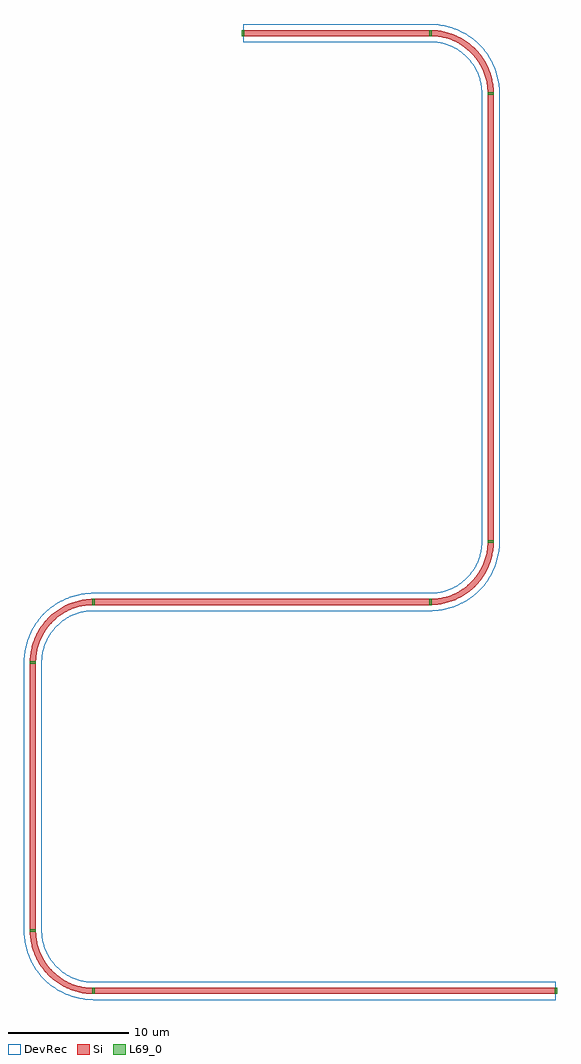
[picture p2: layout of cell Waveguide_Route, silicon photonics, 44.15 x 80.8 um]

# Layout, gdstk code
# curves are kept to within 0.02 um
from math import pi, radians
import gdstk
lib = gdstk.Library(unit=1e-6, precision=1e-09)
def R(c, l, rs):  # rectangles x0, y0, x1, y1
    for r in rs: c.add(gdstk.rectangle(r[:2], r[2:], *l))
def P(c, l, *ps):  # polygons
    for p in ps: c.add(gdstk.Polygon(p, *l))
Si = (1, 0)
DevRec = (68, 0)
L69_0 = (69, 0)

waveguide_bend_2 = lib.new_cell('Waveguide_Bend$2')
P(waveguide_bend_2, Si, [(-5,-0.25),(-5,0.25),(-4.594,0.267),(-4.057,0.345),(-3.532,0.482),(-3.151,0.625),(-2.432,1.004),(-2.099,1.238),(-1.69,1.594),(-1.41,1.889),(-1.079,2.319),(-0.799,2.783),(-0.625,3.151),(-0.482,3.532),(-0.345,4.057),(-0.267,4.594),(-0.25,5),(0.25,5),(0.231,4.551),(0.145,3.957),(-0.007,3.378),(-0.164,2.956),(-0.583,2.162),(-0.843,1.794),(-1.235,1.341),(-1.562,1.032),(-2.037,0.666),(-2.418,0.429),(-2.956,0.164),(-3.378,0.007),(-3.957,-0.145),(-4.402,-0.216)])
P(waveguide_bend_2, DevRec, [(-5,-0.75),(-5,0.75),(-4.516,0.778),(-4.156,0.835),(-3.803,0.922),(-3.346,1.085),(-2.702,1.425),(-2.405,1.634),(-2.038,1.952),(-1.788,2.217),(-1.492,2.601),(-1.299,2.91),(-1.085,3.346),(-0.922,3.803),(-0.835,4.156),(-0.778,4.516),(-0.75,5),(0.75,5),(0.729,4.508),(0.666,4.019),(0.517,3.38),(0.358,2.914),(0.16,2.463),(-0.163,1.891),(-0.549,1.36),(-0.876,0.993),(-1.235,0.654),(-1.754,0.254),(-2.173,-0.007),(-2.762,-0.296),(-3.223,-0.469),(-3.858,-0.635),(-4.345,-0.713)])
waveguide_bend_2.add(gdstk.FlexPath([(0,5.1),(0,4.9)], 0.5, ends="flush", simple_path=True, layer=69, datatype=0))  # L69_0
waveguide_bend_2.add(gdstk.FlexPath([(-4.9,0),(-5.1,0)], 0.5, ends="flush", simple_path=True, layer=69, datatype=0))  # L69_0
waveguide_bend_2.add(gdstk.Label('Lumerical_INTERCONNECT_library=Design kits/ebeam_v1.1', (-4.5,0), layer=68, texttype=0))
waveguide_bend_2.add(gdstk.Label('Lumerical_INTERCONNECT_component=ebeam_bend_1550', (-4.5,1.25), layer=68, texttype=0))
waveguide_bend_2.add(gdstk.Label('Spice_param:radius=5.000u wg_width=0.500u', (-4.5,2.5), layer=68, texttype=0))
waveguide_bend_2.add(gdstk.Label('pin2', (0,5), layer=69, texttype=0))
waveguide_bend_2.add(gdstk.Label('pin1', (-5,0), layer=69, texttype=0))

waveguide_straight_44 = lib.new_cell('Waveguide_Straight$44')
R(waveguide_straight_44, Si, [(-18.55,-0.25,18.55,0.25)])
R(waveguide_straight_44, DevRec, [(-18.55,-0.75,18.55,0.75)])
waveguide_straight_44.add(gdstk.FlexPath([(-18.65,0),(-18.45,0)], 0.5, ends="flush", simple_path=True, layer=69, datatype=0))  # L69_0
waveguide_straight_44.add(gdstk.FlexPath([(18.45,0),(18.65,0)], 0.5, ends="flush", simple_path=True, layer=69, datatype=0))  # L69_0
waveguide_straight_44.add(gdstk.Label('Lumerical_INTERCONNECT_library=Design kits/ebeam_v1.0', (0,0), layer=68, texttype=0))
waveguide_straight_44.add(gdstk.Label('Lumerical_INTERCONNECT_component=ebeam_wg_strip_1550', (3.71,0), layer=68, texttype=0))
waveguide_straight_44.add(gdstk.Label('Spice_param:wg_width=0.500u wg_length=37.100u', (4.122,0), layer=68, texttype=0))
waveguide_straight_44.add(gdstk.Label('pin1', (-18.55,0), layer=69, texttype=0))
waveguide_straight_44.add(gdstk.Label('pin2', (18.55,0), layer=69, texttype=0))

waveguide_straight_45 = lib.new_cell('Waveguide_Straight$45')
R(waveguide_straight_45, Si, [(-13.95,-0.25,13.95,0.25)])
R(waveguide_straight_45, DevRec, [(-13.95,-0.75,13.95,0.75)])
waveguide_straight_45.add(gdstk.FlexPath([(-14.05,0),(-13.85,0)], 0.5, ends="flush", simple_path=True, layer=69, datatype=0))  # L69_0
waveguide_straight_45.add(gdstk.FlexPath([(13.85,0),(14.05,0)], 0.5, ends="flush", simple_path=True, layer=69, datatype=0))  # L69_0
waveguide_straight_45.add(gdstk.Label('Lumerical_INTERCONNECT_library=Design kits/ebeam_v1.0', (0,0), layer=68, texttype=0))
waveguide_straight_45.add(gdstk.Label('Lumerical_INTERCONNECT_component=ebeam_wg_strip_1550', (2.79,0), layer=68, texttype=0))
waveguide_straight_45.add(gdstk.Label('Spice_param:wg_width=0.500u wg_length=27.900u', (3.1,0), layer=68, texttype=0))
waveguide_straight_45.add(gdstk.Label('pin1', (-13.95,0), layer=69, texttype=0))
waveguide_straight_45.add(gdstk.Label('pin2', (13.95,0), layer=69, texttype=0))

waveguide_straight_46 = lib.new_cell('Waveguide_Straight$46')
R(waveguide_straight_46, Si, [(-11.1,-0.25,11.1,0.25)])
R(waveguide_straight_46, DevRec, [(-11.1,-0.75,11.1,0.75)])
waveguide_straight_46.add(gdstk.FlexPath([(-11.2,0),(-11,0)], 0.5, ends="flush", simple_path=True, layer=69, datatype=0))  # L69_0
waveguide_straight_46.add(gdstk.FlexPath([(11,0),(11.2,0)], 0.5, ends="flush", simple_path=True, layer=69, datatype=0))  # L69_0
waveguide_straight_46.add(gdstk.Label('Lumerical_INTERCONNECT_library=Design kits/ebeam_v1.0', (0,0), layer=68, texttype=0))
waveguide_straight_46.add(gdstk.Label('Lumerical_INTERCONNECT_component=ebeam_wg_strip_1550', (2.22,0), layer=68, texttype=0))
waveguide_straight_46.add(gdstk.Label('Spice_param:wg_width=0.500u wg_length=22.200u', (2.466,0), layer=68, texttype=0))
waveguide_straight_46.add(gdstk.Label('pin1', (-11.1,0), layer=69, texttype=0))
waveguide_straight_46.add(gdstk.Label('pin2', (11.1,0), layer=69, texttype=0))

waveguide_straight_47 = lib.new_cell('Waveguide_Straight$47')
R(waveguide_straight_47, Si, [(-7.75,-0.25,7.75,0.25)])
R(waveguide_straight_47, DevRec, [(-7.75,-0.75,7.75,0.75)])
waveguide_straight_47.add(gdstk.FlexPath([(-7.85,0),(-7.65,0)], 0.5, ends="flush", simple_path=True, layer=69, datatype=0))  # L69_0
waveguide_straight_47.add(gdstk.FlexPath([(7.65,0),(7.85,0)], 0.5, ends="flush", simple_path=True, layer=69, datatype=0))  # L69_0
waveguide_straight_47.add(gdstk.Label('Lumerical_INTERCONNECT_library=Design kits/ebeam_v1.0', (0,0), layer=68, texttype=0))
waveguide_straight_47.add(gdstk.Label('Lumerical_INTERCONNECT_component=ebeam_wg_strip_1550', (1.55,0), layer=68, texttype=0))
waveguide_straight_47.add(gdstk.Label('Spice_param:wg_width=0.500u wg_length=15.500u', (1.722,0), layer=68, texttype=0))
waveguide_straight_47.add(gdstk.Label('pin1', (-7.75,0), layer=69, texttype=0))
waveguide_straight_47.add(gdstk.Label('pin2', (7.75,0), layer=69, texttype=0))

waveguide_straight_48 = lib.new_cell('Waveguide_Straight$48')
R(waveguide_straight_48, Si, [(-19.15,-0.25,19.15,0.25)])
R(waveguide_straight_48, DevRec, [(-19.15,-0.75,19.15,0.75)])
waveguide_straight_48.add(gdstk.FlexPath([(-19.25,0),(-19.05,0)], 0.5, ends="flush", simple_path=True, layer=69, datatype=0))  # L69_0
waveguide_straight_48.add(gdstk.FlexPath([(19.05,0),(19.25,0)], 0.5, ends="flush", simple_path=True, layer=69, datatype=0))  # L69_0
waveguide_straight_48.add(gdstk.Label('Lumerical_INTERCONNECT_library=Design kits/ebeam_v1.0', (0,0), layer=68, texttype=0))
waveguide_straight_48.add(gdstk.Label('Lumerical_INTERCONNECT_component=ebeam_wg_strip_1550', (3.83,0), layer=68, texttype=0))
waveguide_straight_48.add(gdstk.Label('Spice_param:wg_width=0.500u wg_length=38.300u', (4.255,0), layer=68, texttype=0))
waveguide_straight_48.add(gdstk.Label('pin1', (-19.15,0), layer=69, texttype=0))
waveguide_straight_48.add(gdstk.Label('pin2', (19.15,0), layer=69, texttype=0))

waveguide_route = lib.new_cell('Waveguide_Route')
waveguide_route.add(gdstk.Reference(waveguide_bend_2, (-7.2,97.6), x_reflection=True))
waveguide_route.add(gdstk.Reference(waveguide_bend_2, (-7.2,50.5), rotation=3*pi/2, x_reflection=True))
waveguide_route.add(gdstk.Reference(waveguide_bend_2, (-45.1,50.5), rotation=pi))
waveguide_route.add(gdstk.Reference(waveguide_bend_2, (-45.1,18.3), rotation=3*pi/2))
waveguide_route.add(gdstk.Reference(waveguide_straight_44, (-7.2,74.05), rotation=3*pi/2))
waveguide_route.add(gdstk.Reference(waveguide_straight_45, (-26.15,50.5), rotation=pi))
waveguide_route.add(gdstk.Reference(waveguide_straight_46, (-45.1,34.4), rotation=3*pi/2))
waveguide_route.add(gdstk.Reference(waveguide_straight_47, (-19.95,97.6)))
waveguide_route.add(gdstk.Reference(waveguide_straight_48, (-20.95,18.3)))

lib.write_gds('Waveguide_Route.gds')
